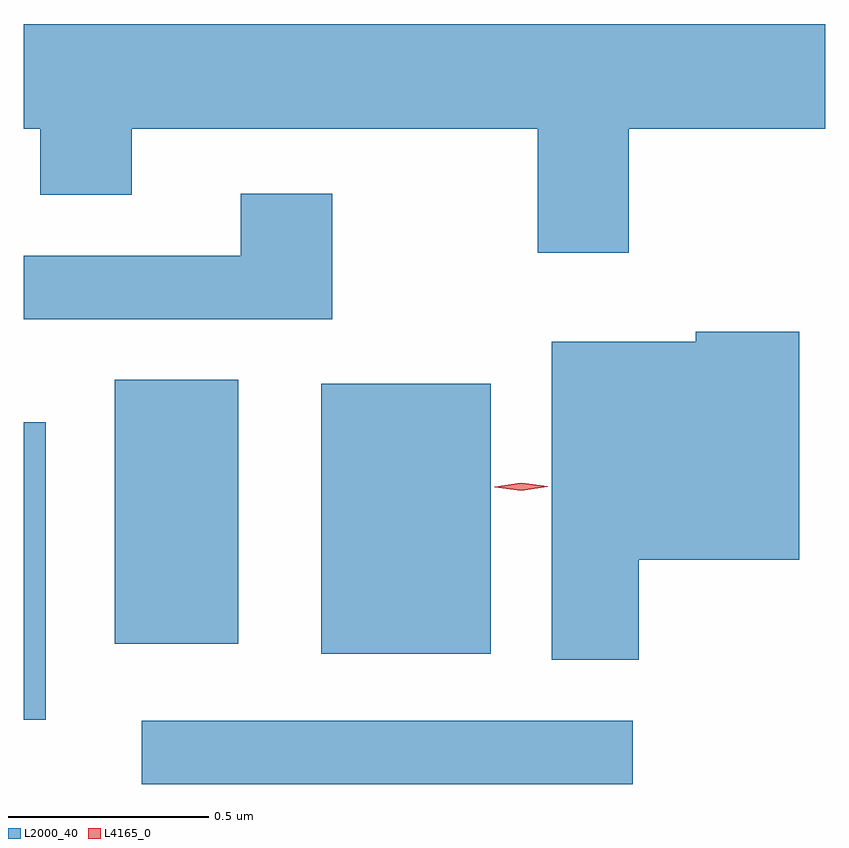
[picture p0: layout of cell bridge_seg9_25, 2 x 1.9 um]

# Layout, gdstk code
import gdstk
lib = gdstk.Library(unit=1e-6, precision=1e-09)
def R(c, l, rs):  # rectangles x0, y0, x1, y1
    for r in rs: c.add(gdstk.rectangle(r[:2], r[2:], *l))
def P(c, l, *ps):  # polygons
    for p in ps: c.add(gdstk.Polygon(p, *l))
L2000_40 = (2000, 40)
L4165_0 = (4165, 0)

bridge_seg9_25 = lib.new_cell('bridge_seg9_25')
R(bridge_seg9_25, L2000_40, [(1548.103,2067.881,1549.328,2068.039), (1547.809,2068.041,1547.864,2068.784), (1548.551,2068.206,1548.974,2068.879), (1548.036,2068.231,1548.344,2068.889)])
P(bridge_seg9_25, L2000_40, [(1549.319,2069.516),(1549.809,2069.516),(1549.809,2069.777),(1547.809,2069.777),(1547.809,2069.516),(1547.851,2069.516),(1547.851,2069.351),(1548.079,2069.351),(1548.079,2069.516),(1549.091,2069.516),(1549.091,2069.206),(1549.319,2069.206)],
  [(1548.579,2069.354),(1548.351,2069.354),(1548.351,2069.199),(1547.809,2069.199),(1547.809,2069.041),(1548.579,2069.041)],
  [(1549.344,2068.441),(1549.744,2068.441),(1549.744,2069.009),(1549.486,2069.009),(1549.486,2068.984),(1549.126,2068.984),(1549.126,2068.191),(1549.344,2068.191)])
P(bridge_seg9_25, L4165_0, [(1549.05,2068.612),(1548.984,2068.621),(1548.983,2068.622),(1548.984,2068.622),(1549.05,2068.632),(1549.116,2068.624),(1549.116,2068.623),(1549.116,2068.622)])

lib.write_gds('bridge_seg9_25.gds')
